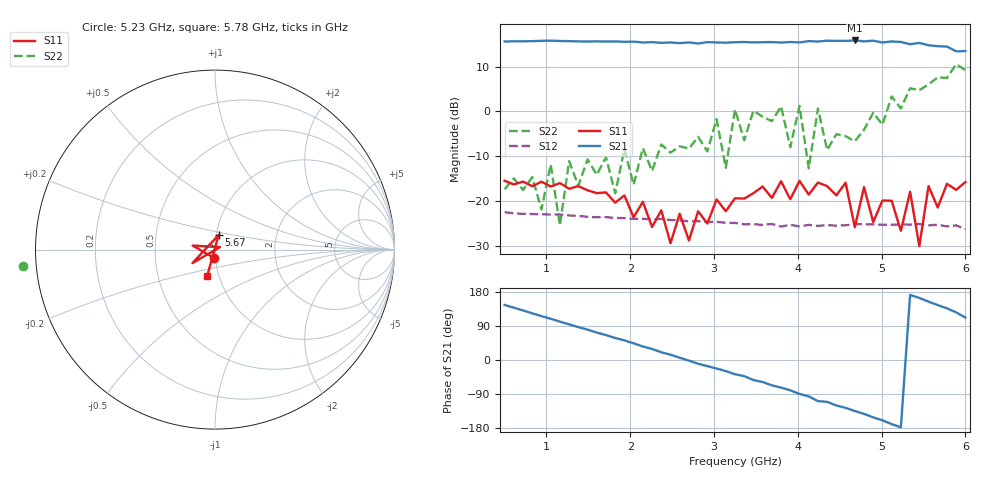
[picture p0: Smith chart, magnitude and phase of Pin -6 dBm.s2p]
! RsaToolbox (C) 2015 Rohde & Schwarz America
! Number of points: 51
! Number of ports: 2
! Balanced ports?: No
# Hz S RI R 50
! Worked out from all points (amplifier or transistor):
!   51 points, 500 MHz to 6 GHz, reference 50 ohm
!   highest |S21| = 15.8 dB at 4.68 GHz (marker M1)
!   |S21| within 3 dB of that: start of sweep to end of sweep
!   unconditionally stable (mu >= 1): start of sweep to 3.004 GHz; 3.046 GHz to 3.22 GHz; 4.288 GHz to 4.797 GHz (the widest 3 of 6)
!   at 1.38 GHz: K = 1.36, MAG = 15.9 dB, |S12| = -23.3 dB
!   at 3.25 GHz: K = 0.08, MSG = 20.2 dB, |S12| = -24.9 dB
!   at 6 GHz: K = -15.30, MSG = 19.9 dB, |S12| = -26.3 dB
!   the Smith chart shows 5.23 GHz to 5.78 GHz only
!   S11 on the Smith chart (normalised r, x): 5.23 GHz: 0.98, -0.09; 5.67 GHz: 1.03, +0.17; 5.78 GHz: 0.88, -0.27
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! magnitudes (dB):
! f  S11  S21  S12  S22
! 500 MHz  -15.5  15.6  -22.5  -17.4
! 940 MHz  -15.7  15.7  -23.0  -21.9
! 1.05 GHz  -16.8  15.8  -23.1  -11.9
! 1.16 GHz  -16.0  15.7  -23.0  -25.5
! 1.27 GHz  -17.3  15.7  -23.3  -11.1
! 1.49 GHz  -17.6  15.6  -23.6  -10.7
! 1.82 GHz  -20.4  15.6  -23.8  -18.3
! 2.37 GHz  -22.1  15.3  -24.0  -7.4
! 2.7 GHz  -28.8  15.4  -24.6  -8.3
! 3.03 GHz  -19.7  15.4  -24.7  -1.8
! 3.14 GHz  -22.3  15.3  -24.9  -12.6
! 3.25 GHz  -19.4  15.4  -24.9  0.4
! 3.91 GHz  -19.6  15.5  -25.3  -8.0
! 4.02 GHz  -15.5  15.4  -25.7  1.2
! 4.13 GHz  -18.6  15.7  -25.3  -12.7
! 4.24 GHz  -15.9  15.6  -25.6  0.6
! 4.68 GHz  -25.9  15.8  -25.2  -6.7
! 5.12 GHz  -20.0  15.6  -25.3  3.3
! 5.23 GHz  -26.7  15.5  -25.2  0.6
! 5.67 GHz  -21.5  14.5  -25.3  7.6
! 5.78 GHz  -16.2  14.5  -25.7  7.4
! 6 GHz  -15.8  13.5  -26.3  9.2
